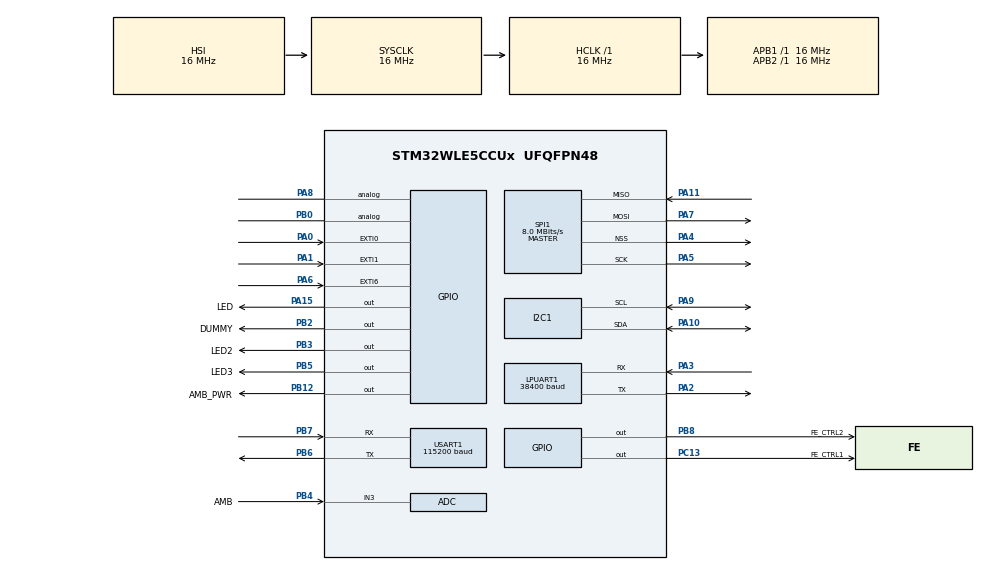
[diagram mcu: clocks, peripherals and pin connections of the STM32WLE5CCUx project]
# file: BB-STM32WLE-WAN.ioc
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ADC.Channel-1\#ChannelRegularConversion=ADC_CHANNEL_3
ADC.Channel-2\#ChannelRegularConversion=ADC_CHANNEL_VBAT
ADC.ClockPrescaler=ADC_CLOCK_ASYNC_DIV8
ADC.ContinuousConvMode=DISABLE
ADC.DMAContinuousRequests=ENABLE
ADC.DiscontinuousConvMode=DISABLE
ADC.EOCSelection=ADC_EOC_SEQ_CONV
ADC.EnableRegularConversion=ENABLE
ADC.ExternalTrigConv=ADC_SOFTWARE_START
ADC.NbrOfConversion=2
ADC.NbrOfConversionFlag=1
ADC.Rank-1\#ChannelRegularConversion=1
ADC.Rank-2\#ChannelRegularConversion=2
ADC.SamplingTime-1\#ChannelRegularConversion=ADC_SAMPLINGTIME_COMMON_1
ADC.SamplingTime-2\#ChannelRegularConversion=ADC_SAMPLINGTIME_COMMON_1
ADC.SamplingTimeCommon1=ADC_SAMPLETIME_1CYCLE_5
ADC.SamplingTimeCommon2=ADC_SAMPLETIME_1CYCLE_5
ADC.SelectedChannel=ADC_CHANNEL_3|ADC_CHANNEL_TEMPSENSOR|ADC_CHANNEL_VREFINT|ADC_CHANNEL_VBAT
ADC.Sequencer=FULLY_CONFIGURABLE
Dma.ADC.0.Direction=DMA_PERIPH_TO_MEMORY
Dma.ADC.0.EventEnable=ENABLE
Dma.ADC.0.Instance=DMA1_Channel1
Dma.ADC.0.MemDataAlignment=DMA_MDATAALIGN_HALFWORD
Dma.ADC.0.MemInc=DMA_MINC_ENABLE
Dma.ADC.0.Mode=DMA_NORMAL
Dma.ADC.0.PeriphDataAlignment=DMA_PDATAALIGN_HALFWORD
Dma.ADC.0.PeriphInc=DMA_PINC_DISABLE
Dma.ADC.0.Polarity=HAL_DMAMUX_REQ_GEN_RISING
Dma.ADC.0.Priority=DMA_PRIORITY_LOW
Dma.ADC.0.RequestNumber=1
Dma.ADC.0.SignalID=NONE
Dma.ADC.0.SyncEnable=DISABLE
Dma.ADC.0.SyncPolarity=HAL_DMAMUX_SYNC_NO_EVENT
Dma.ADC.0.SyncRequestNumber=1
Dma.ADC.0.SyncSignalID=NONE
Dma.Request0=ADC
I2C1.Timing=0x00303D5B
LORAWAN.APP_LOG_ENABLED=false
LORAWAN.Activate_BOARD_RESOURCES=none
LORAWAN.Activate_RADIO_BOARD_INTERFACE=UserBoard
LORAWAN.LORAWAN_APP_KEY=00,00,00,00,00,00,00,00,00,00,00,00,00,00,00,00
LORAWAN.LORAWAN_APP_S_KEY=00,00,00,00,00,00,00,00,00,00,00,00,00,00,00,00
LORAWAN.LORAWAN_DEVICE_ADDRESS=00000000
LORAWAN.LORAWAN_DEVICE_EUI=00,00,00,00,00,00,00,00
LORAWAN.LORAWAN_DEVICE_EUI_HEX=0x00, 0x00, 0x00, 0x00, 0x00, 0x00, 0x00, 0x00
LORAWAN.LORAWAN_JOIN_EUI=00,00,00,00,00,00,00,00
LORAWAN.LORAWAN_JOIN_EUI_HEX=0x00, 0x00, 0x00, 0x00, 0x00, 0x00, 0x00, 0x00
LORAWAN.LORAWAN_NETWORK_ID=0x13
LORAWAN.LORAWAN_NWK_KEY=00,00,00,00,00,00,00,00,00,00,00,00,00,00,00,00
LORAWAN.LORAWAN_NWK_S_KEY=00,00,00,00,00,00,00,00,00,00,00,00,00,00,00,00
LORAWAN.LORAWAN_PUBLIC_NETWORK=true
LORAWAN.MW_LOG_ENABLED=true
LORAWAN.REGION_US915=false
LORAWAN.STATIC_DEVICE_ADDRESS=false
LORAWAN.STATIC_DEVICE_EUI=true
LORAWAN.SUBGHZ_APPLICATION=LORA_USER_APPLICATION
LORAWAN.TX_RFO_CONFIG=RBI_CONF_RFO_LP
LORAWAN.USE_ADC=false
LORAWAN.USE_LPM=false
LORAWAN.USE_RTC=false
LORAWAN.USE_UART=false
LORAWAN.VERBOSE_LEVEL=VLEVEL_M
LPUART1.BaudRate=38400
Mcu.Family=STM32WL
Mcu.Name=STM32WLE5CCUx
Mcu.Package=UFQFPN48
Mcu.UserConstants=LORAWAN_APP_DATA_BUFFER_MAX_SIZE,242;LORAWAN_DEFAULT_PING_SLOT_PERIODICITY,4;SENSORS_TX_DUTYCYCLE_DEFAULT_S,10
NVIC.ADC_IRQn=true\:0\:0\:false\:false\:true\:true\:true\:true
NVIC.DMA1_Channel1_IRQn=true\:0\:0\:false\:false\:true\:false\:true\:true
NVIC.DMAMUX1_OVR_IRQn=true\:0\:0\:false\:false\:true\:false\:true\:true
NVIC.PriorityGroup=NVIC_PRIORITYGROUP_4
NVIC.RCC_IRQn=true\:0\:0\:false\:false\:true\:true\:false\:true
NVIC.SUBGHZ_Radio_IRQn=true\:0\:0\:false\:false\:true\:true\:true\:true
NVIC.TIM16_IRQn=true\:0\:0\:false\:false\:true\:false\:true\:true
NVIC.TimeBase=TIM16_IRQn
NVIC.TimeBaseIP=TIM16
NVIC.USART1_IRQn=true\:0\:0\:false\:false\:true\:true\:true\:true
OSC_IN.Mode=HSE-External-Oscillator
OSC_IN.Signal=RCC_OSC_IN
OSC_OUT.Mode=HSE-External-Oscillator
OSC_OUT.Signal=RCC_OSC_OUT
PA0.GPIO_ModeDefaultEXTI=GPIO_MODE_IT_FALLING
PA0.GPIO_PuPd=GPIO_PULLUP
PA0.Signal=GPXTI0
PA1.GPIO_ModeDefaultEXTI=GPIO_MODE_IT_FALLING
PA1.GPIO_PuPd=GPIO_PULLUP
PA1.Signal=GPXTI1
PA10.GPIO_Pu=GPIO_PULLUP
PA10.Mode=I2C
PA10.Signal=I2C1_SDA
PA11.Mode=Full_Duplex_Master
PA11.Signal=SPI1_MISO
PA13.Signal=DEBUG_JTMS-SWDIO
PA15.GPIO_Label=LED
PA15.Signal=GPIO_Output
PA2.Mode=Asynchronous
PA2.Signal=LPUART1_TX
PA3.Mode=Asynchronous
PA3.Signal=LPUART1_RX
PA4.Mode=NSS_Signal_Hard_Output
PA4.Signal=SPI1_NSS
PA5.Mode=Full_Duplex_Master
PA5.Signal=SPI1_SCK
PA6.GPIO_ModeDefaultEXTI=GPIO_MODE_IT_FALLING
PA6.GPIO_PuPd=GPIO_PULLUP
PA6.Signal=GPXTI6
PA7.Mode=Full_Duplex_Master
PA7.Signal=SPI1_MOSI
PA8.Signal=GPIO_Analog
PA9.GPIO_Pu=GPIO_PULLUP
PA9.Mode=I2C
PA9.Signal=I2C1_SCL
PB0-VDD_TCXO.Signal=GPIO_Analog
PB12.GPIO_Label=AMB_PWR
PB12.PinState=GPIO_PIN_SET
PB12.Signal=GPIO_Output
PB2.GPIO_Label=DUMMY
PB2.Signal=GPIO_Output
PB3.GPIO_Label=LED2
PB3.Signal=GPIO_Output
PB4.GPIO_Label=AMB
PB4.Signal=SharedAnalog_PB4
PB5.GPIO_Label=LED3
PB5.Signal=GPIO_Output
PB6.Mode=Asynchronous
PB6.Signal=USART1_TX
PB7.Mode=Asynchronous
PB7.Signal=USART1_RX
PB8.GPIO_Label=FE_CTRL2
PB8.Signal=GPIO_Output
PC13.GPIO_Label=FE_CTRL1
PC13.PinState=GPIO_PIN_SET
PC13.Signal=GPIO_Output
PC14-OSC32_IN.Mode=LSE-External-Oscillator
PC14-OSC32_IN.Signal=RCC_OSC32_IN
PC15-OSC32_OUT.Mode=LSE-External-Oscillator
PC15-OSC32_OUT.Signal=RCC_OSC32_OUT
ProjectManager.HeapSize=0x200
ProjectManager.StackSize=0x400
ProjectManager.TargetToolchain=STM32CubeIDE
RCC.AHBFreq_Value=16000000
RCC.APB1Freq_Value=16000000
RCC.APB1TimFreq_Value=16000000
RCC.APB2Freq_Value=16000000
RCC.APB2TimFreq_Value=16000000
RCC.APB3Freq_Value=16000000
RCC.CortexFreq_Value=16000000
RCC.HCLKFreq_Value=16000000
RCC.HSE_VALUE=32000000
RCC.HSI_VALUE=16000000
RCC.LSE_Drive_Capability=RCC_LSEDRIVE_MEDIUMLOW
RCC.LSE_VALUE=32768
RCC.MSIAutoCalibration=DISABLED
RCC.PLLSourceVirtual=RCC_PLLSOURCE_HSE
RCC.RTCClockSelection=RCC_RTCCLKSOURCE_LSE
RCC.SYSCLKFreq_VALUE=16000000
RCC.SYSCLKSource=RCC_SYSCLKSOURCE_HSI
RCC.VCOOutputFreq_Value=256000000
RTC.Alarm-Alarm\ A=RTC_ALARM_A
RTC.Alarm_B-Alarm\ B=RTC_ALARM_B
SH.SharedAnalog_PB4.0=GPIO_Analog
SH.SharedAnalog_PB4.1=ADC_IN3,IN3
SPI1.CalculateBaudRate=8.0 MBits/s
SPI1.DataSize=SPI_DATASIZE_8BIT
SPI1.Direction=SPI_DIRECTION_2LINES
SPI1.Mode=SPI_MODE_MASTER
SPI1.VirtualNSS=VM_NSSHARD
SPI1.VirtualType=VM_MASTER
USART1.BaudRate=115200
USART1.VirtualMode-Asynchronous=VM_ASYNC
VP_ADC_TempSens_Input.Mode=IN-TempSens
VP_ADC_Vbat_Input.Mode=IN-Vbat
VP_ADC_Vref_Input.Mode=IN-Vrefint
VP_ADV_TRACE_VS_ADV_TRACE.Mode=ADV_TRACE_Enabled
VP_LORAWAN_VS_LoRaWAN.Mode=LoRaWAN_Enabled
VP_MISC_VS_MISC.Mode=MISC_Enabled
VP_PWR_V_PVD_IN.Mode=Mode_PVD_Int
VP_RTC_VS_RTC_Activate.Mode=RTC_Enabled
VP_RTC_VS_RTC_Alarm_A_Intern.Mode=Alarm A
VP_RTC_VS_RTC_Alarm_B_Intern.Mode=Alarm B
VP_RTC_VS_RTC_Calendar.Mode=RTC_Calendar
VP_RTC_VS_RTC_WakeUp_intern.Mode=WakeUp
VP_SEQUENCER_VS_SEQUENCER.Mode=SEQUENCER_Enabled
VP_SUBGHZ_VS_SUBGHZ.Mode=SUBGHZ_Activate
VP_SYS_VS_tim16.Mode=TIM16
VP_TIMER_VS_TIMER.Mode=TIMER_Enabled
VP_TINY_LPM_VS_TINY_LPM.Mode=TINY_LPM_Enabled
VP_VREFBUF_V_VREFBUF.Mode=VREFBUFOFFMode
board=custom

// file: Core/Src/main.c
/* USER CODE BEGIN Header */
/**
  ******************************************************************************
  * @file           : main.c
  * @brief          : Main program body
  ******************************************************************************
  * @attention
  *
  * <h2><center>&copy; Copyright (c) 2021 STMicroelectronics.
  * All rights reserved.</center></h2>
  *
  * This software component is licensed by ST under Ultimate Liberty license
  * SLA0044, the "License"; You may not use this file except in compliance with
  * the License. You may obtain a copy of the License at:
  *                             www.st.com/SLA0044
  *
  ******************************************************************************
  */
/* USER CODE END Header */
#include "main.h"
#include "app_lorawan.h"

/* USER CODE BEGIN Includes */
#include <stdio.h>
#include "LmHandler.h"
#include "BMP280/bmp280.h"
#include "iis2mdc/iis2mdc_reg.h"
#include "mw_log_conf.h"  /* needed for MW_LOG */
/* USER CODE END Includes */

ADC_HandleTypeDef hadc;
DMA_HandleTypeDef hdma_adc;

I2C_HandleTypeDef hi2c1;

UART_HandleTypeDef hlpuart1;
UART_HandleTypeDef huart1;

RTC_HandleTypeDef hrtc;

SPI_HandleTypeDef hspi1;

//SUBGHZ_HandleTypeDef hsubghz;

/* USER CODE BEGIN PV */
BMP280_HandleTypedef bmp280;

float pressure, temperature, humidity;

uint16_t size;
uint8_t Data[256];
#define ADC_BUFLEN 2
uint16_t adcBuf[ADC_BUFLEN];   //For ADC samples.

uint8_t ADC_FLAG;
#define TRUE 1
#define FALSE 0
/* USER CODE END PV */

void SystemClock_Config(void);
static void MX_GPIO_Init(void);
static void MX_DMA_Init(void);
static void MX_I2C1_Init(void);
static void MX_LPUART1_UART_Init(void);
static void MX_USART1_UART_Init(void);
static void MX_SPI1_Init(void);
static void MX_RTC_Init(void);
static void MX_ADC_Init(void);
/* USER CODE BEGIN PFP */
//void user_delay_us(uint32_t period);
//int8_t user_i2c_read(uint8_t reg_addr, uint8_t *data, uint32_t len);
//int8_t user_i2c_write(uint8_t reg_addr, const uint8_t *data, uint32_t len);

MAG_HandleTypedef mag;

/* USER CODE END PFP */

/* USER CODE BEGIN 0 */
#ifdef __GNUC__
/* With GCC/RAISONANCE, small printf (option LD Linker->Libraries->Small printf
   set to 'Yes') calls __io_putchar() */
#define PUTCHAR_PROTOTYPE int __io_putchar(int ch)
#else
#define PUTCHAR_PROTOTYPE int fputc(int ch, FILE *f)
#endif /* __GNUC__ */

PUTCHAR_PROTOTYPE
{
  /* Place your implementation of fputc here */
  /* e.g. write a character to the USART1 and Loop until the end of transmission */
  HAL_UART_Transmit(&huart1, (uint8_t *)&ch, 1, 0xFFFF);

  return ch;
}

int32_t Mag_begin(MAG_HandleTypedef *ctx)
{
  /* Enable BDU */

  if (iis2mdc_block_data_update_set(ctx, PROPERTY_ENABLE) != IIS2MDC_OK)
  {
    return IIS2MDC_ERROR;
  }

  /* Operating mode selection - power down */

  if (iis2mdc_operating_mode_set(ctx, IIS2MDC_POWER_DOWN) != IIS2MDC_OK)
  {
    return IIS2MDC_ERROR;
  }

  /* Output data rate selection */
  if (iis2mdc_data_rate_set(ctx, IIS2MDC_ODR_100Hz) != IIS2MDC_OK)
  {
    return IIS2MDC_ERROR;
  }
   /* Self Test disabled. */
  if (iis2mdc_self_test_set(ctx, PROPERTY_DISABLE) != IIS2MDC_OK)
  {
    return IIS2MDC_ERROR;
  }

  /* Output data rate selection. */
   if (iis2mdc_operating_mode_set(ctx, IIS2MDC_CONTINUOUS_MODE) != IIS2MDC_OK)
   {
     return IIS2MDC_ERROR;
   }

   return IIS2MDC_OK;
}
IIS2MDCStatusTypeDef MagGetAxes(MAG_HandleTypedef *ctx, uint16_t *MagneticField)
{
 axis3bit16_t data_raw;

  float sensitivity = IIS2MDC_MAG_SENSITIVITY_FS_50GAUSS;

  /* Read raw data values. */
  if (iis2mdc_magnetic_raw_get(ctx, data_raw.i16bit) != IIS2MDC_OK)
  {
    return IIS2MDC_ERROR;
  }

  /* Get IIS2MDC actual sensitivity. */

  /* Calculate the data. */
  MagneticField[0] = (int32_t)((float)((float)data_raw.i16bit[0] * sensitivity));
  MagneticField[1] = (int32_t)((float)((float)data_raw.i16bit[1] * sensitivity));
  MagneticField[2] = (int32_t)((float)((float)data_raw.i16bit[2] * sensitivity));

  return IIS2MDC_OK;
}

/* USER CODE END 0 */

int main(void)
{

  /* MCU Configuration--------------------------------------------------------*/

  /* Reset of all peripherals, Initializes the Flash interface and the Systick. */
  HAL_Init();

  /* Configure the system clock */
  SystemClock_Config();

  /* Initialize all configured peripherals */
  MX_GPIO_Init();
  MX_DMA_Init();
  MX_I2C1_Init();
  MX_LPUART1_UART_Init();
  MX_USART1_UART_Init();
  MX_SPI1_Init();
  MX_RTC_Init();
  MX_LoRaWAN_Init();
  MX_ADC_Init();
  /* USER CODE BEGIN 2 */

	bmp280_init_default_params(&bmp280.params);
	bmp280.addr = BMP280_I2C_ADDRESS_1;
	bmp280.i2c = &hi2c1;

	while (!bmp280_init(&bmp280, &bmp280.params)) {
		size = sprintf((char *)Data, "BMP280 initialization failed\n");
		HAL_UART_Transmit(&huart1, Data, size, 1000);
		HAL_Delay(2000);
	}
	bool bme280p = bmp280.id == BME280_CHIP_ID;
	printf("BMP280: found %s\r\n", bme280p ? "BME280" : "BMP280");

 // Mag_begin();
	mag.i2c = &hi2c1;
	mag.addr = IIS2MDC_I2C_ADD;

if (Mag_begin(&(mag)) == IIS2MDC_OK)
{
printf("MAG IIS2MDC OK\r\n");
} else
{
	 printf("MAG Failed!!!!\r\n");

}
//The link between hadc1 and hdma_adc1 was completed in stm32f1xx_hal_msp.c:
HAL_ADC_Start_DMA(&hadc, adcBuf, ADC_BUFLEN); //Link DMA to ADC1
  /* USER CODE END 2 */

  /* Infinite loop */
  while (1)
  {
    MX_LoRaWAN_Process();

  }
}

void SystemClock_Config(void)
{
  RCC_OscInitTypeDef RCC_OscInitStruct = {0};
  RCC_ClkInitTypeDef RCC_ClkInitStruct = {0};

  /** Configure LSE Drive Capability
  */
  HAL_PWR_EnableBkUpAccess();
  __HAL_RCC_LSEDRIVE_CONFIG(RCC_LSEDRIVE_MEDIUMLOW);

  /** Configure the main internal regulator output voltage
  */
  __HAL_PWR_VOLTAGESCALING_CONFIG(PWR_REGULATOR_VOLTAGE_SCALE2);

  /** Initializes the CPU, AHB and APB buses clocks
  */
  RCC_OscInitStruct.OscillatorType = RCC_OSCILLATORTYPE_HSI|RCC_OSCILLATORTYPE_LSE;
  RCC_OscInitStruct.LSEState = RCC_LSE_ON;
  RCC_OscInitStruct.HSIState = RCC_HSI_ON;
  RCC_OscInitStruct.HSICalibrationValue = RCC_HSICALIBRATION_DEFAULT;
  RCC_OscInitStruct.PLL.PLLState = RCC_PLL_NONE;
  if (HAL_RCC_OscConfig(&RCC_OscInitStruct) != HAL_OK)
  {
    Error_Handler();
  }

  /** Configure the SYSCLKSource, HCLK, PCLK1 and PCLK2 clocks dividers
  */
  RCC_ClkInitStruct.ClockType = RCC_CLOCKTYPE_HCLK3|RCC_CLOCKTYPE_HCLK
                              |RCC_CLOCKTYPE_SYSCLK|RCC_CLOCKTYPE_PCLK1
                              |RCC_CLOCKTYPE_PCLK2;
  RCC_ClkInitStruct.SYSCLKSource = RCC_SYSCLKSOURCE_HSI;
  RCC_ClkInitStruct.AHBCLKDivider = RCC_SYSCLK_DIV1;
  RCC_ClkInitStruct.APB1CLKDivider = RCC_HCLK_DIV1;
  RCC_ClkInitStruct.APB2CLKDivider = RCC_HCLK_DIV1;
  RCC_ClkInitStruct.AHBCLK3Divider = RCC_SYSCLK_DIV1;

  if (HAL_RCC_ClockConfig(&RCC_ClkInitStruct, FLASH_LATENCY_0) != HAL_OK)
  {
    Error_Handler();
  }
}

static void MX_ADC_Init(void)
{

  ADC_ChannelConfTypeDef sConfig = {0};

  /** Configure the global features of the ADC (Clock, Resolution, Data Alignment and number of conversion)
  */
  hadc.Instance = ADC;
  hadc.Init.ClockPrescaler = ADC_CLOCK_ASYNC_DIV8;
  hadc.Init.Resolution = ADC_RESOLUTION_12B;
  hadc.Init.DataAlign = ADC_DATAALIGN_RIGHT;
  hadc.Init.ScanConvMode = ADC_SCAN_ENABLE;
  hadc.Init.EOCSelection = ADC_EOC_SEQ_CONV;
  hadc.Init.LowPowerAutoWait = DISABLE;
  hadc.Init.LowPowerAutoPowerOff = DISABLE;
  hadc.Init.ContinuousConvMode = DISABLE;
  hadc.Init.NbrOfConversion = 2;
  hadc.Init.DiscontinuousConvMode = DISABLE;
  hadc.Init.ExternalTrigConv = ADC_SOFTWARE_START;
  hadc.Init.ExternalTrigConvEdge = ADC_EXTERNALTRIGCONVEDGE_NONE;
  hadc.Init.DMAContinuousRequests = ENABLE;
  hadc.Init.Overrun = ADC_OVR_DATA_PRESERVED;
  hadc.Init.SamplingTimeCommon1 = ADC_SAMPLETIME_1CYCLE_5;
  hadc.Init.SamplingTimeCommon2 = ADC_SAMPLETIME_1CYCLE_5;
  hadc.Init.OversamplingMode = DISABLE;
  hadc.Init.TriggerFrequencyMode = ADC_TRIGGER_FREQ_HIGH;
  if (HAL_ADC_Init(&hadc) != HAL_OK)
  {
    Error_Handler();
  }

  /** Configure Regular Channel
  */
  sConfig.Channel = ADC_CHANNEL_3;
  sConfig.Rank = ADC_REGULAR_RANK_1;
  sConfig.SamplingTime = ADC_SAMPLINGTIME_COMMON_1;
  if (HAL_ADC_ConfigChannel(&hadc, &sConfig) != HAL_OK)
  {
    Error_Handler();
  }

  /** Configure Regular Channel
  */
  sConfig.Channel = ADC_CHANNEL_VBAT;
  sConfig.Rank = ADC_REGULAR_RANK_2;
  if (HAL_ADC_ConfigChannel(&hadc, &sConfig) != HAL_OK)
  {
    Error_Handler();
  }
  /* USER CODE BEGIN ADC_Init 2 */

  GPIO_InitTypeDef GPIO_InitStruct = {0};
  GPIO_InitStruct.Pin = GPIO_PIN_4;
  GPIO_InitStruct.Mode = GPIO_MODE_ANALOG;
  GPIO_InitStruct.Pull = GPIO_NOPULL;
  HAL_GPIO_Init(GPIOB, &GPIO_InitStruct);
  /* USER CODE END ADC_Init 2 */

}

static void MX_I2C1_Init(void)
{

  hi2c1.Instance = I2C1;
  hi2c1.Init.Timing = 0x00303D5B;
  hi2c1.Init.OwnAddress1 = 0;
  hi2c1.Init.AddressingMode = I2C_ADDRESSINGMODE_7BIT;
  hi2c1.Init.DualAddressMode = I2C_DUALADDRESS_DISABLE;
  hi2c1.Init.OwnAddress2 = 0;
  hi2c1.Init.OwnAddress2Masks = I2C_OA2_NOMASK;
  hi2c1.Init.GeneralCallMode = I2C_GENERALCALL_DISABLE;
  hi2c1.Init.NoStretchMode = I2C_NOSTRETCH_DISABLE;
  if (HAL_I2C_Init(&hi2c1) != HAL_OK)
  {
    Error_Handler();
  }

  /** Configure Analogue filter
  */
  if (HAL_I2CEx_ConfigAnalogFilter(&hi2c1, I2C_ANALOGFILTER_ENABLE) != HAL_OK)
  {
    Error_Handler();
  }

  /** Configure Digital filter
  */
  if (HAL_I2CEx_ConfigDigitalFilter(&hi2c1, 0) != HAL_OK)
  {
    Error_Handler();
  }

}

static void MX_LPUART1_UART_Init(void)
{

  hlpuart1.Instance = LPUART1;
  hlpuart1.Init.BaudRate = 38400;
  hlpuart1.Init.WordLength = UART_WORDLENGTH_8B;
  hlpuart1.Init.StopBits = UART_STOPBITS_1;
  hlpuart1.Init.Parity = UART_PARITY_NONE;
  hlpuart1.Init.Mode = UART_MODE_TX_RX;
  hlpuart1.Init.HwFlowCtl = UART_HWCONTROL_NONE;
  hlpuart1.Init.OneBitSampling = UART_ONE_BIT_SAMPLE_DISABLE;
  hlpuart1.Init.ClockPrescaler = UART_PRESCALER_DIV1;
  hlpuart1.AdvancedInit.AdvFeatureInit = UART_ADVFEATURE_NO_INIT;
  hlpuart1.FifoMode = UART_FIFOMODE_DISABLE;
  if (HAL_UART_Init(&hlpuart1) != HAL_OK)
  {
    Error_Handler();
  }
  if (HAL_UARTEx_SetTxFifoThreshold(&hlpuart1, UART_TXFIFO_THRESHOLD_1_8) != HAL_OK)
  {
    Error_Handler();
  }
  if (HAL_UARTEx_SetRxFifoThreshold(&hlpuart1, UART_RXFIFO_THRESHOLD_1_8) != HAL_OK)
  {
    Error_Handler();
  }
  if (HAL_UARTEx_DisableFifoMode(&hlpuart1) != HAL_OK)
  {
    Error_Handler();
  }

}

static void MX_USART1_UART_Init(void)
{

  huart1.Instance = USART1;
  huart1.Init.BaudRate = 115200;
  huart1.Init.WordLength = UART_WORDLENGTH_8B;
  huart1.Init.StopBits = UART_STOPBITS_1;
  huart1.Init.Parity = UART_PARITY_NONE;
  huart1.Init.Mode = UART_MODE_TX_RX;
  huart1.Init.HwFlowCtl = UART_HWCONTROL_NONE;
  huart1.Init.OverSampling = UART_OVERSAMPLING_16;
  huart1.Init.OneBitSampling = UART_ONE_BIT_SAMPLE_DISABLE;
  huart1.Init.ClockPrescaler = UART_PRESCALER_DIV1;
  huart1.AdvancedInit.AdvFeatureInit = UART_ADVFEATURE_NO_INIT;
  if (HAL_UART_Init(&huart1) != HAL_OK)
  {
    Error_Handler();
  }
  if (HAL_UARTEx_SetTxFifoThreshold(&huart1, UART_TXFIFO_THRESHOLD_1_8) != HAL_OK)
  {
    Error_Handler();
  }
  if (HAL_UARTEx_SetRxFifoThreshold(&huart1, UART_RXFIFO_THRESHOLD_1_8) != HAL_OK)
  {
    Error_Handler();
  }
  if (HAL_UARTEx_DisableFifoMode(&huart1) != HAL_OK)
  {
    Error_Handler();
  }

}

static void MX_RTC_Init(void)
{

  RTC_TimeTypeDef sTime = {0};
  RTC_DateTypeDef sDate = {0};
  RTC_AlarmTypeDef sAlarm = {0};

  /** Initialize RTC Only
  */
  hrtc.Instance = RTC;
  hrtc.Init.HourFormat = RTC_HOURFORMAT_24;
  hrtc.Init.AsynchPrediv = 127;
  hrtc.Init.SynchPrediv = 255;
  hrtc.Init.OutPut = RTC_OUTPUT_DISABLE;
  hrtc.Init.OutPutRemap = RTC_OUTPUT_REMAP_NONE;
  hrtc.Init.OutPutPolarity = RTC_OUTPUT_POLARITY_HIGH;
  hrtc.Init.OutPutType = RTC_OUTPUT_TYPE_OPENDRAIN;
  hrtc.Init.OutPutPullUp = RTC_OUTPUT_PULLUP_NONE;
  hrtc.Init.BinMode = RTC_BINARY_NONE;
  if (HAL_RTC_Init(&hrtc) != HAL_OK)
  {
    Error_Handler();
  }

  /** Initialize RTC and set the Time and Date
  */
  sTime.Hours = 0x0;
  sTime.Minutes = 0x0;
  sTime.Seconds = 0x0;
  sTime.DayLightSaving = RTC_DAYLIGHTSAVING_NONE;
  sTime.StoreOperation = RTC_STOREOPERATION_RESET;
  if (HAL_RTC_SetTime(&hrtc, &sTime, RTC_FORMAT_BCD) != HAL_OK)
  {
    Error_Handler();
  }
  sDate.WeekDay = RTC_WEEKDAY_MONDAY;
  sDate.Month = RTC_MONTH_JANUARY;
  sDate.Date = 0x1;
  sDate.Year = 0x0;
  if (HAL_RTC_SetDate(&hrtc, &sDate, RTC_FORMAT_BCD) != HAL_OK)
  {
    Error_Handler();
  }

  /** Enable the Alarm A
  */
  sAlarm.AlarmTime.Hours = 0x0;
  sAlarm.AlarmTime.Minutes = 0x0;
  sAlarm.AlarmTime.Seconds = 0x0;
  sAlarm.AlarmTime.SubSeconds = 0x0;
  sAlarm.AlarmTime.DayLightSaving = RTC_DAYLIGHTSAVING_NONE;
  sAlarm.AlarmTime.StoreOperation = RTC_STOREOPERATION_RESET;
  sAlarm.AlarmMask = RTC_ALARMMASK_NONE;
  sAlarm.AlarmSubSecondMask = RTC_ALARMSUBSECONDMASK_ALL;
  sAlarm.AlarmDateWeekDaySel = RTC_ALARMDATEWEEKDAYSEL_DATE;
  sAlarm.AlarmDateWeekDay = 0x1;
  sAlarm.Alarm = RTC_ALARM_A;
  if (HAL_RTC_SetAlarm(&hrtc, &sAlarm, RTC_FORMAT_BCD) != HAL_OK)
  {
    Error_Handler();
  }

  /** Enable the Alarm B
  */
  sAlarm.Alarm = RTC_ALARM_B;

  /** Enable the WakeUp
  */
  if (HAL_RTCEx_SetWakeUpTimer(&hrtc, 0, RTC_WAKEUPCLOCK_RTCCLK_DIV16) != HAL_OK)
  {
    Error_Handler();
  }

}

static void MX_SPI1_Init(void)
{

  /* SPI1 parameter configuration*/
  hspi1.Instance = SPI1;
  hspi1.Init.Mode = SPI_MODE_MASTER;
  hspi1.Init.Direction = SPI_DIRECTION_2LINES;
  hspi1.Init.DataSize = SPI_DATASIZE_8BIT;
  hspi1.Init.CLKPolarity = SPI_POLARITY_LOW;
  hspi1.Init.CLKPhase = SPI_PHASE_1EDGE;
  hspi1.Init.NSS = SPI_NSS_HARD_OUTPUT;
  hspi1.Init.BaudRatePrescaler = SPI_BAUDRATEPRESCALER_2;
  hspi1.Init.FirstBit = SPI_FIRSTBIT_MSB;
  hspi1.Init.TIMode = SPI_TIMODE_DISABLE;
  hspi1.Init.CRCCalculation = SPI_CRCCALCULATION_DISABLE;
  hspi1.Init.CRCPolynomial = 7;
  hspi1.Init.CRCLength = SPI_CRC_LENGTH_DATASIZE;
  hspi1.Init.NSSPMode = SPI_NSS_PULSE_ENABLE;
  if (HAL_SPI_Init(&hspi1) != HAL_OK)
  {
    Error_Handler();
  }

}

//void MX_SUBGHZ_Init(void)
//{
//
//  /* USER CODE BEGIN SUBGHZ_Init 0 */
//
//  /* USER CODE END SUBGHZ_Init 0 */
//
//  /* USER CODE BEGIN SUBGHZ_Init 1 */
//
//  /* USER CODE END SUBGHZ_Init 1 */
//  hsubghz.Init.BaudratePrescaler = SUBGHZSPI_BAUDRATEPRESCALER_8;
//  if (HAL_SUBGHZ_Init(&hsubghz) != HAL_OK)
//  {
//    Error_Handler();
//  }
//  /* USER CODE BEGIN SUBGHZ_Init 2 */
//
//  /* USER CODE END SUBGHZ_Init 2 */
//
//}

static void MX_DMA_Init(void)
{

  /* DMA controller clock enable */
  __HAL_RCC_DMAMUX1_CLK_ENABLE();
  __HAL_RCC_DMA1_CLK_ENABLE();

  /* DMA interrupt init */
  /* DMA1_Channel1_IRQn interrupt configuration */
  HAL_NVIC_SetPriority(DMA1_Channel1_IRQn, 0, 0);
  HAL_NVIC_EnableIRQ(DMA1_Channel1_IRQn);
  /* DMAMUX1_OVR_IRQn interrupt configuration */
  HAL_NVIC_SetPriority(DMAMUX1_OVR_IRQn, 0, 0);
  HAL_NVIC_EnableIRQ(DMAMUX1_OVR_IRQn);

}

static void MX_GPIO_Init(void)
{
  GPIO_InitTypeDef GPIO_InitStruct = {0};

  /* GPIO Ports Clock Enable */
  __HAL_RCC_GPIOB_CLK_ENABLE();
  __HAL_RCC_GPIOA_CLK_ENABLE();
  __HAL_RCC_GPIOC_CLK_ENABLE();

  /*Configure GPIO pin Output Level */
  HAL_GPIO_WritePin(GPIOB, LED2_Pin|LED3_Pin|FE_CTRL2_Pin|DUMMY_Pin, GPIO_PIN_RESET);

  /*Configure GPIO pin Output Level */
  HAL_GPIO_WritePin(AMB_PWR_GPIO_Port, AMB_PWR_Pin, GPIO_PIN_SET);

  /*Configure GPIO pin Output Level */
  HAL_GPIO_WritePin(FE_CTRL1_GPIO_Port, FE_CTRL1_Pin, GPIO_PIN_SET);

  /*Configure GPIO pin Output Level */
  HAL_GPIO_WritePin(LED_GPIO_Port, LED_Pin, GPIO_PIN_RESET);

  /*Configure GPIO pins : LED2_Pin LED3_Pin FE_CTRL2_Pin DUMMY_Pin
                           AMB_PWR_Pin */
  GPIO_InitStruct.Pin = LED2_Pin|LED3_Pin|FE_CTRL2_Pin|DUMMY_Pin
                          |AMB_PWR_Pin;
  GPIO_InitStruct.Mode = GPIO_MODE_OUTPUT_PP;
  GPIO_InitStruct.Pull = GPIO_NOPULL;
  GPIO_InitStruct.Speed = GPIO_SPEED_FREQ_LOW;
  HAL_GPIO_Init(GPIOB, &GPIO_InitStruct);

  /*Configure GPIO pins : PA0 PA1 PA6 */
  GPIO_InitStruct.Pin = GPIO_PIN_0|GPIO_PIN_1|GPIO_PIN_6;
  GPIO_InitStruct.Mode = GPIO_MODE_IT_FALLING;
  GPIO_InitStruct.Pull = GPIO_PULLUP;
  HAL_GPIO_Init(GPIOA, &GPIO_InitStruct);

  /*Configure GPIO pin : PA8 */
  GPIO_InitStruct.Pin = GPIO_PIN_8;
  GPIO_InitStruct.Mode = GPIO_MODE_ANALOG;
  GPIO_InitStruct.Pull = GPIO_NOPULL;
  HAL_GPIO_Init(GPIOA, &GPIO_InitStruct);

  /*Configure GPIO pin : PB0 */
  GPIO_InitStruct.Pin = GPIO_PIN_0;
  GPIO_InitStruct.Mode = GPIO_MODE_ANALOG;
  GPIO_InitStruct.Pull = GPIO_NOPULL;
  HAL_GPIO_Init(GPIOB, &GPIO_InitStruct);

  /*Configure GPIO pin : FE_CTRL1_Pin */
  GPIO_InitStruct.Pin = FE_CTRL1_Pin;
  GPIO_InitStruct.Mode = GPIO_MODE_OUTPUT_PP;
  GPIO_InitStruct.Pull = GPIO_NOPULL;
  GPIO_InitStruct.Speed = GPIO_SPEED_FREQ_LOW;
  HAL_GPIO_Init(FE_CTRL1_GPIO_Port, &GPIO_InitStruct);

  /*Configure GPIO pin : LED_Pin */
  GPIO_InitStruct.Pin = LED_Pin;
  GPIO_InitStruct.Mode = GPIO_MODE_OUTPUT_PP;
  GPIO_InitStruct.Pull = GPIO_NOPULL;
  GPIO_InitStruct.Speed = GPIO_SPEED_FREQ_LOW;
  HAL_GPIO_Init(LED_GPIO_Port, &GPIO_InitStruct);

}

void HAL_TIM_PeriodElapsedCallback(TIM_HandleTypeDef *htim)
{
  /* USER CODE BEGIN Callback 0 */
static int counter = 0;
  /* USER CODE END Callback 0 */
  if (htim->Instance == TIM16) {
    HAL_IncTick();
  }
  /* USER CODE BEGIN Callback 1 */
counter++;
if (counter == 9550){
	HAL_GPIO_WritePin(LED_GPIO_Port, LED_Pin,GPIO_PIN_SET);
	HAL_ADC_Start_DMA(&hadc, adcBuf, ADC_BUFLEN);
	HAL_ADC_Start(&hadc);
	HAL_ADC_PollForConversion(&hadc, 10);
	HAL_ADC_Stop(&hadc);

} else
if (counter > 10000){
	 HAL_GPIO_TogglePin(LED_GPIO_Port, LED_Pin);
	counter = 0;
	//HAL_ADC_Stop(&hadc);
	uint16_t magnetometer[3]={0,0,0};
	MagGetAxes(&(mag), magnetometer);
	//float xx = (float)magnetometer[0];
	//float yy = (float)magnetometer[1];
	//float zz = (float)magnetometer[2];
//	float vbat = 0;
//	int16_t env = 0;
	while (!bmp280_read_float(&bmp280, &temperature, &pressure, &humidity)) {
		printf("Temperature/pressure reading failed\r\n");
		//HAL_UART_Transmit(&huart1, Data, size, 1000);
		HAL_Delay(2000);
	}
	int env = adcBuf[0] - 1250;
		if (env < 0) env = 0;
		env = env * 100;
		env = env / 2850;
		pressure = pressure / 100;
		printf("Pressure: %.0fhPa, Temperature: %.1f°C, Humidity: %.0f%%\r\n",
				pressure, temperature, humidity);
		printf("X: %d, Y: %d, Z: %d, light = %d%%, vbat = %dmV\r\n",magnetometer[0],magnetometer[1],magnetometer[2],(int)env,(int)adcBuf[1]<<1);

	//SendTxData();
		static uint8_t AppDataBuffer[240];
		static LmHandlerAppData_t AppData = { 0, 0, AppDataBuffer };
	  UTIL_TIMER_Time_t nextTxIn = 0;

	  //AppData.Port = SENSORS_PAYLOAD_APP_PORT;
	  AppData.BufferSize = 14;
	  AppData.Buffer[0] = (uint8_t)((((int)adcBuf[1]<<1) / 100) >> 8);
	  AppData.Buffer[1] = (uint8_t)((((int)adcBuf[1]<<1) / 100) & 0xff);
	  AppData.Buffer[2] = (uint8_t)(((int)temperature / 100) >> 8);
	  AppData.Buffer[3] = (uint8_t)(((int)temperature  / 100) & 0xFF);
	  AppData.Buffer[4] = (uint8_t)humidity;
	  AppData.Buffer[5] = (uint8_t)env;
	  AppData.Buffer[6] = (uint8_t)(((int)pressure) >> 8);
	  AppData.Buffer[7] = (uint8_t)((((int)pressure) / 100) & 0xFF);

	  AppData.Buffer[8] = (uint8_t)((magnetometer[0]) >> 8);
	  AppData.Buffer[9] = (uint8_t)((magnetometer[0]) & 0xFF);
	  AppData.Buffer[10] = (uint8_t)((magnetometer[1]) >> 8);
	  AppData.Buffer[11] = (uint8_t)((magnetometer[1]) & 0xFF);
	  AppData.Buffer[12] = (uint8_t)((magnetometer[2]) >> 8);
	  AppData.Buffer[13] = (uint8_t)((magnetometer[2]) & 0xFF);

	  LmHandlerErrorStatus_t result = LmHandlerSend(&AppData, LORAMAC_HANDLER_UNCONFIRMED_MSG, false);
	  if (LORAMAC_HANDLER_SUCCESS == result)
	  {
	    printf("SEND REQUEST\r\n");
	  }
	  else if (nextTxIn > 0)
	  {
	    printf("Next Tx in  : ~%l second(s)\r\n", (nextTxIn / 1000));
	  }
	  else
	  {
		 //
		  printf("Respond: <%d>\r\n",result);

	  }
	}

  /* USER CODE END Callback 1 */
}

void Error_Handler(void)
{
  __disable_irq();
  while (1)
  {
  }
}
